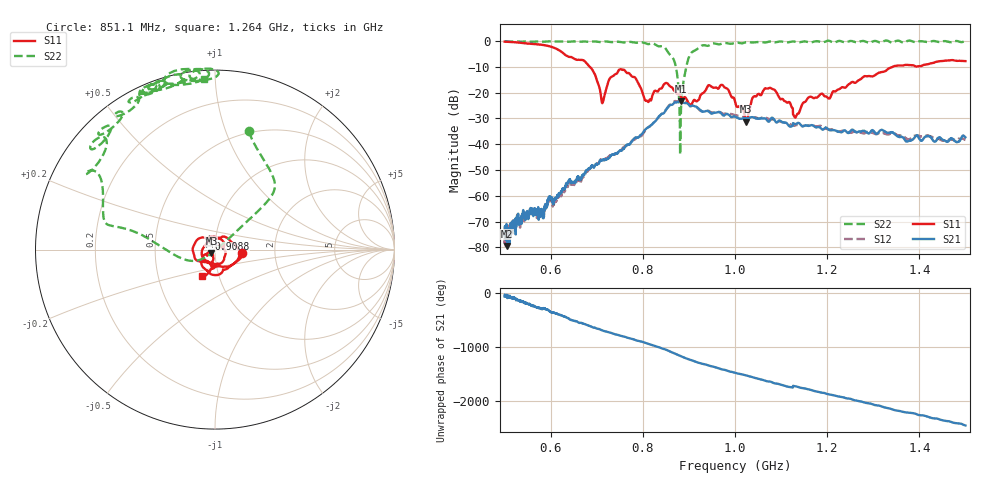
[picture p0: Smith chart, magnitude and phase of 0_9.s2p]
!Agilent Technologies,E8364B,US42250235,A.06.04.32
!Agilent E8364B: A.06.04.32
!Date: Thursday, October 01, 2020 15:47:10
!Correction: S11(Full 2 Port(1,2)) S21(Full 2 Port(1,2)) S12(Full 2 Port(1,2)) S22(Full 2 Port(1,2))
!S2P File: Measurements: S11, S21, S12, S22:
# Hz S  dB  R 50
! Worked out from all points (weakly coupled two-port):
!   2650 points, 500 MHz to 1.5 GHz, reference 50 ohm
!   highest |S21| = -23.35 dB at 882.8 MHz (marker M1); lowest = -79.5 dB at 505.7 MHz (marker M2)
!   lowest |S11| = -31.3 dB at 1.024 GHz (marker M3), VSWR 1.06, Z = 48 - j1.78 ohm
!   |S11| at or under -10 dB: 684.9 MHz to 1.342 GHz (656.8 MHz wide, 64.8 % of centre)
!   |S22| runs from -44.0 to 0.3 dB; largest |S21 - S12| = 0.026
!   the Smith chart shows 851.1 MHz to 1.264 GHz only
!   S11 on the Smith chart (normalised r, x): 851.1 MHz: 1.36, -0.06; 908.8 MHz: 0.93, +0.11; 1.264 GHz: 0.83, -0.25
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5e8  -0.21 -175.2  -75.76 -56.4  -76.51 -49.8  -0.02 143.2
5.056625e8  -0.24 -178.3  -79.53 -30.1  -74.85 -67.2  -0.11 144.4
5.970177e8  -1.95 121.3  -60.56 36.0  -61.21 36.2  -0.08 129.4
6.668554e8  -7.27 76.2  -52.72 170.6  -53.88 164.9  -0.13 124.6
7.129105e8  -23.84 80.7  -46.07 30.4  -45.69 28.1  -0.26 114.4
7.521706e8  -10.88 73.2  -42.40 -68.3  -42.22 -60.1  -0.35 114.8
8.080408e8  -23.09 23.3  -33.79 154.2  -34.03 171.2  -1.04 102.4
8.337108e8  -19.26 30.9  -29.37 84.8  -29.62 104.4  -1.96 84.5
8.510759e8  -16.23 -7.5  -26.49 31.8  -26.32 53.4  -3.28 74.0
8.695734e8  -19.37 -62.8  -23.72 -37.9  -23.23 -16.7  -8.45 42.4
8.82786e8  -21.63 -109.8  -23.35 -88.0  -22.98 -66.9  -26.25 -137.6
8.944885e8  -22.40 -167.2  -24.05 -128.7  -23.72 -108.1  -9.81 174.6
9.088335e8  -23.48 120.3  -25.04 -171.0  -25.09 -154.6  -3.99 166.0
9.711212e8  -16.95 -89.1  -28.23 29.4  -27.90 53.1  -0.97 130.4
1.000189e9  -23.54 -154.1  -29.33 -34.7  -28.72 -16.5  -0.63 124.2
1.023971e9  -31.31 -137.1  -29.79 -82.4  -29.88 -68.8  -0.39 117.2
1.067761e9  -18.38 -162.9  -30.31 172.5  -29.74 -168.6  -0.48 109.6
1.130804e9  -29.69 42.2  -32.23 75.4  -32.70 58.0  -0.21 112.0
1.166667e9  -21.69 -74.7  -32.56 2.4  -32.64 -17.0  -0.47 102.6
1.264439e9  -15.75 -115.9  -35.47 169.7  -35.19 150.7  -0.45 93.7
1.333522e9  -10.61 -144.4  -35.60 27.1  -36.21 15.5  -0.01 98.0
1.5e9  -7.73 139.6  -37.34 68.0  -38.32 41.8  0.12 70.8
